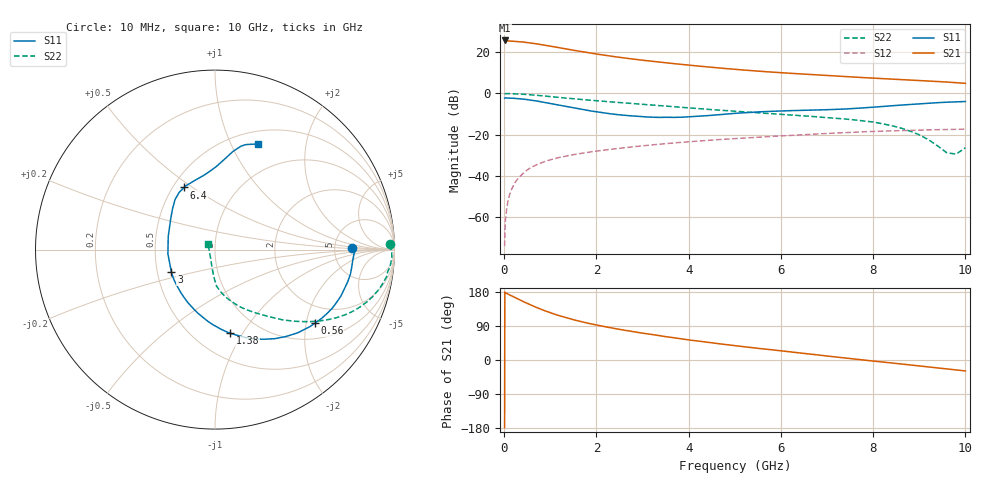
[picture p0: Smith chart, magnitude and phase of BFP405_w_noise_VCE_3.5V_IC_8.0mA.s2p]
! Infineon Technologies  Discrete & RF Semiconductors
! BFP405
! VCE =  3.5 V,  IC =  8.0 mA
! Common Emitter S-Parameters:  Jan 2016
# GHz  S  MA  R  50
!  f  S11  S21  S12  S22
! GHz  MAG  ANG  MAG  ANG  MAG  ANG  MAG  ANG
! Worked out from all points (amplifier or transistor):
!   233 points, 10 MHz to 10 GHz, reference 50 ohm
!   highest |S21| = 25.6 dB at 10 MHz (marker M1)
!   |S21| within 3 dB of that: start of sweep to 1.065 GHz
!   unconditionally stable (mu >= 1): start of sweep to 18.75 MHz; 2.925 GHz to end of sweep
!   at 200 MHz: K = 0.16, MSG = 35.0 dB, |S12| = -44.7 dB
!   at 1.74 GHz: K = 0.69, MSG = 24.4 dB, |S12| = -28.8 dB
!   at 10 GHz: K = 1.39, MAG = 7.4 dB, |S12| = -17.3 dB
!   lowest NFmin = 1.48 dB at 900 MHz
!   S11 on the Smith chart (normalised r, x): 10 MHz: 7.45, +0.33; 560 MHz: 1.43, -2.24; 1.38 GHz: 0.73, -0.88; 3 GHz: 0.59, -0.16; 6.4 GHz: 0.57, +0.46; 10 GHz: 0.64, +1.27
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0.01  0.7637 0.7  19.07 -178.5  0.0002 -24.0  0.9761 1.7
0.02  0.7774 -0.9  18.83 177.4  0.0006 81.8  0.9796 0.1
0.09  0.7689 -5.9  18.55 173.6  0.0027 81.8  0.9858 -2.3
0.24  0.7546 -16.1  18.2 164.5  0.007 81.1  0.9711 -7.1
0.4  0.7298 -26.7  17.53 155.0  0.0113 76.9  0.9536 -11.4
0.56  0.6904 -36.5  16.62 146.1  0.0154 73.2  0.9257 -15.4
0.7  0.6545 -45.0  15.79 138.7  0.0186 70.1  0.8982 -18.7
0.9  0.5985 -56.0  14.53 129.1  0.0228 66.2  0.8561 -22.8
1.1  0.5435 -66.4  13.3 120.6  0.0264 63.1  0.815 -26.3
1.38  0.4724 -79.9  11.69 110.3  0.031 59.7  0.7608 -30.3
1.68  0.4102 -93.6  10.24 100.9  0.0354 57.0  0.7096 -34.0
2.2  0.3319 -117.1  8.291 87.5  0.0427 53.4  0.6362 -39.1
2.6  0.2952 -134.9  7.191 78.7  0.0481 51.0  0.5881 -42.6
3  0.2732 -152.8  6.34 70.8  0.0537 48.6  0.5441 -46.0
3.4  0.2622 -170.4  5.655 63.7  0.0592 46.0  0.502 -49.2
4  0.2704 164.5  4.819 53.0  0.0674 42.0  0.4448 -54.5
5.1  0.3332 134.6  3.737 36.3  0.0817 34.3  0.3622 -64.4
6.4  0.3868 116.4  2.97 18.8  0.0988 25.4  0.2904 -74.3
6.8  0.396 109.5  2.789 13.4  0.1042 22.4  0.2694 -77.4
8.4  0.5004 84.6  2.202 -7.8  0.1236 8.5  0.1654 -91.0
9.6  0.6103 73.5  1.878 -23.6  0.1334 -1.4  0.0362 -142.8
10  0.6349 68.0  1.747 -28.9  0.136 -4.3  0.0482 143.2
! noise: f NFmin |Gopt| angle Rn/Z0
0.9  1.48  0.25  8  0.32
1.8  1.74  0.19  10  0.3
2.4  1.86  0.16  14  0.3
3  1.88  0.12  33  0.28
4  2.05  0.03  -6  0.27
5  2.41  0.06  -110  0.26
